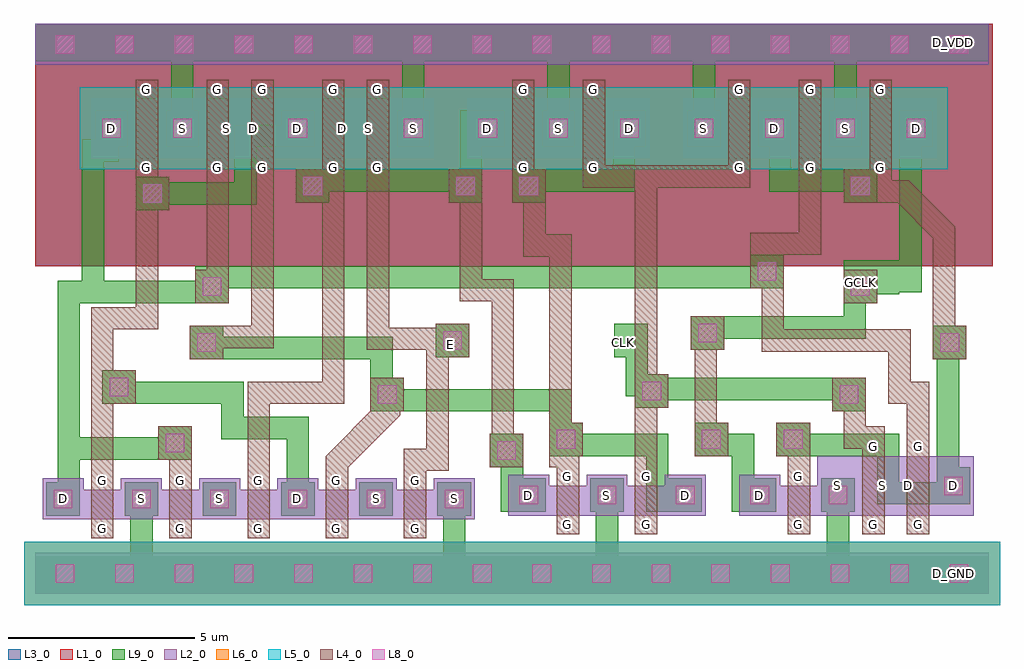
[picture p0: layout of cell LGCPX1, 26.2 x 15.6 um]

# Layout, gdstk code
import gdstk
lib = gdstk.Library(unit=1e-6, precision=1e-09)
def R(c, l, rs):  # rectangles x0, y0, x1, y1
    for r in rs: c.add(gdstk.rectangle(r[:2], r[2:], *l))
def A(c, l, x, y, w, h, nx, ny, dx, dy):  # array of equal rectangles
    R(c, l, [(x+i*dx, y+j*dy, x+i*dx+w, y+j*dy+h) for i in range(nx) for j in range(ny)])
def P(c, l, *ps):  # polygons
    for p in ps: c.add(gdstk.Polygon(p, *l))
L1_0 = (1, 0)
L2_0 = (2, 0)
L3_0 = (3, 0)
L4_0 = (4, 0)
L5_0 = (5, 0)
L6_0 = (6, 0)
L8_0 = (8, 0)
L9_0 = (9, 0)

lgcpx1 = lib.new_cell('LGCPX1')
A(lgcpx1, L1_0, 0, 8.8, 1.6, 6.5, 16, 1, 1.6, 0)
A(lgcpx1, L1_0, 15.9, 10.2, 6, 4.6, 3, 1, 1.9, 0)
R(lgcpx1, L1_0, [(25.6,8.8,25.7,15.3), (0,10.2,6,14.8), (1.9,10.2,7.9,14.8), (3.1,10.2,9.1,14.8), (5,10.2,11,14.8), (6.2,10.2,12.2,14.8), (10.1,10.2,16.1,14.8), (12,10.2,18,14.8)])
A(lgcpx1, L2_0, 0, 0, 1.6, 1.1, 16, 2, 1.6, 14.2)
A(lgcpx1, L2_0, 1.3, 2, 1, 0.8, 5, 1, 2.1, 0)
A(lgcpx1, L2_0, 18.5, 11.7, 0.8, 1.6, 3, 1, 1.9, 0)
R(lgcpx1, L2_0, [(0.2,2,1.3,3.1), (2.3,2,3.4,3.1), (2.3,2,3.4,3.1), (4.4,2,5.5,3.1), (4.4,2,5.5,3.1), (6.5,2,7.6,3.1), (6.5,2,7.6,3.1), (8.6,2,9.7,3.1), (8.6,2,9.7,3.1), (10.7,2,11.8,3.1), (12.7,2.1,13.8,3.2), (13.8,2.1,14.8,2.9), (14.8,2.1,15.9,3.2), (14.8,2.1,15.9,3.2), (15.9,2.1,16.9,2.9), (16.9,2.1,18,3.2), (18.9,2.1,20,3.2), (20,2.1,21,2.9), (21,2.1,22.1,3.2), (21,2.1,22.1,3.7), (22.1,2.1,22.9,3.7), (22.2,2.1,23.3,3.7), (22.9,2.1,24,3.7), (23.3,2.1,24.1,3.7), (24.1,2.1,25.2,3.7), (1.5,11.7,2.6,13.3), (2.6,11.7,3.4,13.3), (3.4,11.7,4.5,13.3), (3.4,11.7,4.5,13.3), (4.5,11.7,5.3,13.3), (4.6,11.7,5.7,13.3), (5.3,11.7,6.4,13.3), (5.7,11.7,6.5,13.3), (6.5,11.7,7.6,13.3), (6.5,11.7,7.6,13.3), (7.6,11.7,8.4,13.3), (7.7,11.7,8.8,13.3), (8.4,11.7,9.5,13.3), (8.8,11.7,9.6,13.3), (9.6,11.7,10.7,13.3), (11.6,11.7,12.7,13.3), (12.7,11.7,13.5,13.3), (13.5,11.7,14.6,13.3), (13.5,11.7,14.6,13.3), (14.6,11.7,15.4,13.3), (15.4,11.7,16.5,13.3), (17.4,11.7,18.5,13.3), (19.3,11.7,20.4,13.3), (19.3,11.7,20.4,13.3), (21.2,11.7,22.3,13.3), (21.2,11.7,22.3,13.3), (23.1,11.7,24.2,13.3)])
A(lgcpx1, L3_0, 0, 8.8, 1.6, 6.5, 16, 1, 1.6, 0)
A(lgcpx1, L3_0, 15.9, 10.2, 6, 4.6, 3, 1, 1.9, 0)
R(lgcpx1, L3_0, [(25.6,8.8,25.7,15.3), (0,10.2,6,14.8), (1.9,10.2,7.9,14.8), (3.1,10.2,9.1,14.8), (5,10.2,11,14.8), (6.2,10.2,12.2,14.8), (10.1,10.2,16.1,14.8), (12,10.2,18,14.8)])
A(lgcpx1, L4_0, 1.5, 1.5, 0.6, 1.8, 5, 1, 2.1, 0)
A(lgcpx1, L4_0, 1.5, 1.5, 0.6, 0.5, 5, 2, 2.1, 1.3)
A(lgcpx1, L4_0, 18.6, 11.2, 0.6, 0.5, 3, 2, 1.9, 2.1)
A(lgcpx1, L4_0, 18.6, 11.2, 0.6, 2.6, 3, 1, 1.9, 0)
R(lgcpx1, L4_0, [(14,1.6,14.6,3.4), (14,1.6,14.6,2.1), (16.1,1.6,16.7,3.4), (16.1,1.6,16.7,2.1), (20.2,1.6,20.8,3.4), (20.2,1.6,20.8,2.1), (22.2,1.6,22.8,2.1), (22.2,1.6,22.8,4.2), (23.4,1.6,24,2.1), (23.4,1.6,24,4.2), (3.6,2.5,4.2,4.2), (1.5,2.7,2.1,7.7), (14,2.9,14.6,3.4), (16.1,2.9,16.7,3.4), (20.2,2.9,20.8,3.4), (20.2,3.05,20.8,4.2), (12.2,3.4,13.1,4.3), (13.8,3.4,14.6,4), (3.3,3.6,4.2,4.5), (13.8,3.7,14.7,4.6), (17.7,3.7,18.6,4.6), (17.7,3.7,18.3,7.3), (19.9,3.7,20.8,4.6), (22.2,3.7,22.8,4.2), (23.4,3.7,24,4.2), (12.25,4.3,12.85,7.3), (9,4.9,9.9,5.8), (21.4,4.9,22.3,5.8), (16.1,5,17,5.9), (1.8,5.1,2.7,6), (4.15,6.3,5.05,7.2), (24.1,6.3,25,7.2), (10.75,6.35,11.65,7.25), (17.6,6.55,18.5,7.45), (4.45,6.6,6.4,7.2), (1.5,7.1,3.3,7.7), (2.7,7.1,3.3,10.9), (5.8,7.2,6.4,11.35), (4.3,7.8,5.2,8.7), (21.7,7.8,22.6,8.7), (19.2,8.2,20.1,9.1), (4.6,8.65,5.2,11.55), (2.7,10.3,3.6,11.2), (7,10.5,7.9,11.4), (11.1,10.5,12,11.4), (12.8,10.5,13.7,11.4), (21.7,10.5,22.6,11.4), (21.7,10.6,23,11.2), (15.95,10.9,19.2,11.5), (2.7,11.2,3.3,11.7), (2.7,11.2,3.3,13.8), (4.6,11.2,5.2,11.7), (4.6,11.2,5.2,13.8), (5.8,11.2,6.4,11.7), (5.8,11.2,6.4,13.8), (7.7,11.2,8.3,11.7), (7.7,11.2,8.3,13.8), (8.9,11.2,9.5,11.7), (8.9,11.2,9.5,13.8), (12.8,11.2,13.4,11.7), (12.8,11.2,13.4,13.8), (14.7,11.2,15.3,11.7), (14.7,11.2,15.3,13.8), (2.7,13.3,3.3,13.8), (4.6,13.3,5.2,13.8), (5.8,13.3,6.4,13.8), (7.7,13.3,8.3,13.8), (8.9,13.3,9.5,13.8), (12.8,13.3,13.4,13.8), (14.7,13.3,15.3,13.8)])
P(lgcpx1, L4_0, [(5.7,2.5),(6.3,2.5),(6.3,5.1),(8.3,5.1),(8.3,11.45),(7.7,11.45),(7.7,5.7),(5.7,5.7)],
  [(7.8,2.5),(8.4,2.5),(8.4,3.4),(9.8,4.8),(9.8,5.7),(9.2,5.7),(9.2,5.1),(7.8,3.7)],
  [(22.6,10.5),(23.15,10.5),(24.1,9.55),(24.1,7.2),(24.7,7.2),(24.7,9.85),(23.45,11.1),(22.6,11.1)],
  [(21.7,3.9),(22.8,3.9),(22.8,4.5),(22.3,4.5),(22.3,5.8),(21.7,5.8)],
  [(13.1,9.05),(13.8,9.05),(13.8,4.4),(14.4,4.4),(14.4,9.65),(13.7,9.65),(13.7,10.5),(13.1,10.5)],
  [(11.4,7.85),(12.25,7.85),(12.25,7.3),(12.85,7.3),(12.85,8.45),(12,8.45),(12,10.5),(11.4,10.5)],
  [(19.5,6.5),(22.9,6.5),(22.9,5.1),(23.4,5.1),(23.4,4.2),(24,4.2),(24,5.7),(23.5,5.7),(23.5,7.1),(20.1,7.1),(20.1,8.25),(19.5,8.25)],
  [(19.2,9.1),(21.1,9.1),(21.1,11.2),(20.5,11.2),(20.5,9.7),(19.2,9.7)],
  [(14.7,10.9),(16.1,10.9),(16.1,2.7),(16.7,2.7),(16.7,11.5),(15.3,11.5),(15.3,12),(14.7,12)],
  [(8.9,6.55),(10.5,6.55),(10.5,3.9),(9.9,3.9),(9.9,2.75),(10.5,2.75),(10.5,3.3),(11.1,3.3),(11.1,7.15),(9.5,7.15),(9.5,12.7),(8.9,12.7)])
A(lgcpx1, L5_0, 1.6, -0.3, 1.6, 1.7, 14, 1, 1.6, 0)
A(lgcpx1, L5_0, 17.1, 11.4, 3.6, 2.2, 3, 1, 1.9, 0)
R(lgcpx1, L5_0, [(-0.3,-0.3,1.6,1.4), (24,-0.3,25.9,1.4), (1.2,11.4,4.8,13.6), (3.1,11.4,6.7,13.6), (4.3,11.4,7.9,13.6), (6.2,11.4,9.8,13.6), (7.4,11.4,11,13.6), (11,11.4,11.35,13.6), (11.3,11.4,14.9,13.6), (13.2,11.4,16.8,13.6), (16.6,11.4,17.35,13.6)])
A(lgcpx1, L6_0, 1.6, -0.3, 1.6, 1.7, 14, 1, 1.6, 0)
A(lgcpx1, L6_0, 17.1, 11.4, 3.6, 2.2, 3, 1, 1.9, 0)
R(lgcpx1, L6_0, [(-0.3,-0.3,1.6,1.4), (24,-0.3,25.9,1.4), (1.2,11.4,4.8,13.6), (3.1,11.4,6.7,13.6), (4.3,11.4,7.9,13.6), (6.2,11.4,9.8,13.6), (7.4,11.4,11,13.6), (11,11.4,11.35,13.6), (11.3,11.4,14.9,13.6), (13.2,11.4,16.8,13.6), (16.6,11.4,17.35,13.6)])
A(lgcpx1, L8_0, 0.55, 0.3, 0.5, 0.5, 16, 2, 1.6, 14.2)
R(lgcpx1, L8_0, [(0.5,2.3,1,2.8), (2.6,2.3,3.1,2.8), (2.6,2.3,3.1,2.8), (4.7,2.3,5.2,2.8), (4.7,2.3,5.2,2.8), (6.8,2.3,7.3,2.8), (6.8,2.3,7.3,2.8), (8.9,2.3,9.4,2.8), (8.9,2.3,9.4,2.8), (11,2.3,11.5,2.8), (13,2.4,13.5,2.9), (15.1,2.4,15.6,2.9), (15.1,2.4,15.6,2.9), (17.2,2.4,17.7,2.9), (19.2,2.4,19.7,2.9), (21.3,2.4,21.8,2.9), (24.4,2.65,24.9,3.15), (12.4,3.6,12.9,4.1), (3.5,3.8,4,4.3), (14,3.9,14.5,4.4), (17.9,3.9,18.4,4.4), (20.1,3.9,20.6,4.4), (9.2,5.1,9.7,5.6), (21.6,5.1,22.1,5.6), (16.3,5.2,16.8,5.7), (2,5.3,2.5,5.8), (4.35,6.5,4.85,7), (24.3,6.5,24.8,7), (10.95,6.55,11.45,7.05), (17.8,6.75,18.3,7.25), (4.5,8,5,8.5), (21.9,8,22.4,8.5), (19.4,8.4,19.9,8.9), (2.9,10.5,3.4,11), (7.2,10.7,7.7,11.2), (11.3,10.7,11.8,11.2), (13,10.7,13.5,11.2), (21.9,10.7,22.4,11.2), (1.8,12.25,2.3,12.75), (3.7,12.25,4.2,12.75), (3.7,12.25,4.2,12.75), (6.8,12.25,7.3,12.75), (6.8,12.25,7.3,12.75), (9.9,12.25,10.4,12.75), (11.9,12.25,12.4,12.75), (13.8,12.25,14.3,12.75), (13.8,12.25,14.3,12.75), (15.7,12.25,16.2,12.75), (17.7,12.25,18.2,12.75), (19.6,12.25,20.1,12.75), (19.6,12.25,20.1,12.75), (21.5,12.25,22,12.75), (21.5,12.25,22,12.75), (23.4,12.25,23.9,12.75)])
A(lgcpx1, L9_0, 0, 0, 1.6, 1, 16, 2, 1.6, 14.3)
R(lgcpx1, L9_0, [(15.05,0.15,15.65,2.85), (2.55,0.2,3.15,2.7), (10.95,0.2,11.55,2.85), (21.25,0.2,21.85,2.9), (24.35,0.25,24.95,0.85), (0.3,2.1,1.2,3), (2.4,2.1,3.3,3), (2.4,2.1,3.3,3), (4.5,2.1,5.4,3), (4.5,2.1,5.4,3), (6.6,2.1,7.5,3), (6.6,2.1,7.5,3), (8.7,2.1,9.6,3), (8.7,2.1,9.6,3), (10.8,2.1,11.7,3), (12.5,2.2,13.1,4.2), (12.8,2.2,13.7,3.1), (14.9,2.2,15.8,3.1), (14.9,2.2,15.8,3.1), (17,2.2,17.9,3.1), (18.7,2.2,19.3,4.3), (19,2.2,19.9,3.1), (21.1,2.2,22,3.1), (0.6,2.4,1.2,4.2), (24.2,2.4,25.1,3.4), (24.2,2.4,24.8,7.05), (12.2,3.4,13.1,4.3), (0.6,3.6,4.2,4.2), (0.6,3.6,1.2,8.4), (3.3,3.6,4.2,4.5), (13.8,3.7,14.7,4.6), (17.7,3.7,18.6,4.6), (18.55,3.7,19.3,4.3), (19.9,3.7,20.8,4.6), (9,4.9,9.9,5.8), (21.4,4.9,22.3,5.8), (16.1,5,17,5.9), (1.8,5.1,2.7,6), (16.1,5.2,22.3,5.8), (4.15,6.3,5.05,7.2), (24.1,6.3,25,7.2), (10.75,6.35,11.65,7.25), (10.75,6.35,11.65,7.25), (15.55,6.35,16.45,7.25), (17.6,6.55,18.5,7.45), (0.6,7.8,5.15,8.4), (4.3,7.8,5.2,8.7), (21.7,7.8,22.6,8.7), (21.7,8.05,23.2,8.95), (21.95,8.05,22.85,8.95), (19.2,8.2,20.1,9.1), (2.7,10.3,3.6,11.2), (7,10.5,7.9,11.4), (11.1,10.5,12,11.4), (12.8,10.5,13.7,11.4), (21.7,10.5,22.6,11.4), (1.6,12,2.5,13), (3.5,12,4.4,13), (3.5,12,4.4,13), (3.65,12,4.25,15.15), (6.6,12,7.5,13), (6.6,12,7.5,13), (9.7,12,10.6,13), (11.7,12,12.6,13), (13.6,12,14.5,13), (13.6,12,14.5,13), (15.5,12,16.4,13), (17.5,12,18.4,13), (19.4,12,20.3,13), (19.4,12,20.3,13), (21.3,12,22.2,13), (21.3,12,22.2,13), (23.2,12,24.1,13), (13.75,12.15,14.35,15.15), (17.65,12.15,18.25,15.15), (9.85,12.2,10.45,15.15), (21.45,12.2,22.05,15.1), (24.35,14.5,24.95,15.1)])
P(lgcpx1, L9_0, [(12.8,10.8),(16.1,10.8),(16.1,13),(15.5,13),(15.5,11.4),(12.8,11.4)],
  [(9,4.9),(13.8,4.9),(13.8,3.7),(14.7,3.7),(14.7,4.3),(14.4,4.3),(14.4,5.5),(9.6,5.5),(9.6,5.8),(9,5.8)],
  [(22,8.1),(23.8,8.1),(23.8,12.6),(23.2,12.6),(23.2,8.7),(22,8.7)],
  [(1.25,7.8),(1.85,7.8),(1.85,11.6),(2.25,11.6),(2.25,12.6),(1.65,12.6),(1.65,12.2),(1.25,12.2)],
  [(1.8,5.1),(5,5.1),(5,4.15),(6.75,4.15),(6.75,2.25),(7.35,2.25),(7.35,4.75),(5.6,4.75),(5.6,5.7),(1.8,5.7)],
  [(4.3,8.1),(4.9,8.1),(4.9,8.2),(20.1,8.2),(20.1,8.8),(4.3,8.8)],
  [(18.3,6.85),(22.3,6.85),(22.3,8.7),(21.7,8.7),(21.7,7.45),(18.3,7.45)],
  [(19.9,3.7),(22.6,3.7),(22.6,2.4),(25.1,2.4),(25.1,3),(23.2,3),(23.2,4.3),(19.9,4.3)],
  [(19.7,10.8),(22.6,10.8),(22.6,11.4),(20.3,11.4),(20.3,13),(19.7,13)],
  [(4.3,6.3),(9,6.3),(9,5.1),(9.6,5.1),(9.6,6.9),(4.3,6.9)],
  [(3,10.45),(5.95,10.45),(5.95,12),(7.2,12),(7.2,12.6),(5.35,12.6),(5.35,11.05),(3,11.05)],
  [(15.85,5.3),(16.7,5.3),(16.7,5.9),(16.45,5.9),(16.45,6.95),(15.85,6.95)],
  [(13.8,3.7),(16.4,3.7),(16.4,2.2),(17.9,2.2),(17.9,2.8),(17,2.8),(17,4.3),(13.8,4.3)],
  [(7,10.8),(12,10.8),(12,13),(11.4,13),(11.4,11.4),(7,11.4)])
lgcpx1.add(gdstk.Label('G', (16.4,1.852), layer=4, texttype=0))
lgcpx1.add(gdstk.Label('G', (16.4,3.152), layer=4, texttype=0))
lgcpx1.add(gdstk.Label('S', (15.349,2.651), layer=9, texttype=0))
lgcpx1.add(gdstk.Label('D', (17.449,2.651), layer=9, texttype=0))
lgcpx1.add(gdstk.Label('G', (14.3,1.852), layer=4, texttype=0))
lgcpx1.add(gdstk.Label('G', (14.3,3.152), layer=4, texttype=0))
lgcpx1.add(gdstk.Label('S', (15.351,2.651), layer=9, texttype=0))
lgcpx1.add(gdstk.Label('D', (13.251,2.651), layer=9, texttype=0))
lgcpx1.add(gdstk.Label('G', (15,11.452), layer=4, texttype=0))
lgcpx1.add(gdstk.Label('G', (15,13.552), layer=4, texttype=0))
lgcpx1.add(gdstk.Label('S', (14.049,12.501), layer=9, texttype=0))
lgcpx1.add(gdstk.Label('D', (15.949,12.501), layer=9, texttype=0))
lgcpx1.add(gdstk.Label('G', (13.1,11.452), layer=4, texttype=0))
lgcpx1.add(gdstk.Label('G', (13.1,13.552), layer=4, texttype=0))
lgcpx1.add(gdstk.Label('S', (14.051,12.501), layer=9, texttype=0))
lgcpx1.add(gdstk.Label('D', (12.151,12.501), layer=9, texttype=0))
lgcpx1.add(gdstk.Label('G', (8.1,1.752), layer=4, texttype=0))
lgcpx1.add(gdstk.Label('G', (8.1,3.052), layer=4, texttype=0))
lgcpx1.add(gdstk.Label('S', (9.151,2.551), layer=9, texttype=0))
lgcpx1.add(gdstk.Label('D', (7.051,2.551), layer=9, texttype=0))
lgcpx1.add(gdstk.Label('G', (10.2,1.752), layer=4, texttype=0))
lgcpx1.add(gdstk.Label('G', (10.2,3.052), layer=4, texttype=0))
lgcpx1.add(gdstk.Label('S', (11.251,2.551), layer=9, texttype=0))
lgcpx1.add(gdstk.Label('D', (9.151,2.551), layer=9, texttype=0))
lgcpx1.add(gdstk.Label('G', (9.2,11.452), layer=4, texttype=0))
lgcpx1.add(gdstk.Label('G', (9.2,13.552), layer=4, texttype=0))
lgcpx1.add(gdstk.Label('S', (10.151,12.501), layer=9, texttype=0))
lgcpx1.add(gdstk.Label('D', (8.251,12.501), layer=2, texttype=0))
lgcpx1.add(gdstk.Label('G', (8,11.452), layer=4, texttype=0))
lgcpx1.add(gdstk.Label('G', (8,13.552), layer=4, texttype=0))
lgcpx1.add(gdstk.Label('S', (8.951,12.501), layer=2, texttype=0))
lgcpx1.add(gdstk.Label('D', (7.051,12.501), layer=9, texttype=0))
lgcpx1.add(gdstk.Label('G', (1.8,1.752), layer=4, texttype=0))
lgcpx1.add(gdstk.Label('G', (1.8,3.052), layer=4, texttype=0))
lgcpx1.add(gdstk.Label('S', (2.851,2.551), layer=9, texttype=0))
lgcpx1.add(gdstk.Label('D', (0.751,2.551), layer=9, texttype=0))
lgcpx1.add(gdstk.Label('G', (6,1.752), layer=4, texttype=0))
lgcpx1.add(gdstk.Label('G', (6,3.052), layer=4, texttype=0))
lgcpx1.add(gdstk.Label('S', (4.949,2.551), layer=9, texttype=0))
lgcpx1.add(gdstk.Label('D', (7.049,2.551), layer=9, texttype=0))
lgcpx1.add(gdstk.Label('G', (3.9,1.752), layer=4, texttype=0))
lgcpx1.add(gdstk.Label('G', (3.9,3.052), layer=4, texttype=0))
lgcpx1.add(gdstk.Label('S', (2.849,2.551), layer=9, texttype=0))
lgcpx1.add(gdstk.Label('D', (4.949,2.551), layer=9, texttype=0))
lgcpx1.add(gdstk.Label('G', (4.9,11.452), layer=4, texttype=0))
lgcpx1.add(gdstk.Label('G', (4.9,13.552), layer=4, texttype=0))
lgcpx1.add(gdstk.Label('S', (3.949,12.501), layer=9, texttype=0))
lgcpx1.add(gdstk.Label('D', (5.849,12.501), layer=2, texttype=0))
lgcpx1.add(gdstk.Label('G', (6.1,11.452), layer=4, texttype=0))
lgcpx1.add(gdstk.Label('G', (6.1,13.552), layer=4, texttype=0))
lgcpx1.add(gdstk.Label('S', (5.149,12.501), layer=2, texttype=0))
lgcpx1.add(gdstk.Label('D', (7.049,12.501), layer=9, texttype=0))
lgcpx1.add(gdstk.Label('G', (3,11.452), layer=4, texttype=0))
lgcpx1.add(gdstk.Label('G', (3,13.552), layer=4, texttype=0))
lgcpx1.add(gdstk.Label('S', (3.951,12.501), layer=9, texttype=0))
lgcpx1.add(gdstk.Label('D', (2.051,12.501), layer=9, texttype=0))
lgcpx1.add(gdstk.Label('G', (23.7,1.852), layer=4, texttype=0))
lgcpx1.add(gdstk.Label('G', (23.7,3.952), layer=4, texttype=0))
lgcpx1.add(gdstk.Label('S', (22.749,2.901), layer=2, texttype=0))
lgcpx1.add(gdstk.Label('D', (24.649,2.901), layer=9, texttype=0))
lgcpx1.add(gdstk.Label('D', (23.449,2.901), layer=2, texttype=0))
lgcpx1.add(gdstk.Label('G', (22.5,1.852), layer=4, texttype=0))
lgcpx1.add(gdstk.Label('G', (22.5,3.952), layer=4, texttype=0))
lgcpx1.add(gdstk.Label('S', (21.549,2.901), layer=2, texttype=0))
lgcpx1.add(gdstk.Label('G', (20.5,1.852), layer=4, texttype=0))
lgcpx1.add(gdstk.Label('G', (20.5,3.152), layer=4, texttype=0))
lgcpx1.add(gdstk.Label('S', (21.551,2.651), layer=9, texttype=0))
lgcpx1.add(gdstk.Label('D', (19.451,2.651), layer=9, texttype=0))
lgcpx1.add(gdstk.Label('G', (20.8,11.452), layer=4, texttype=0))
lgcpx1.add(gdstk.Label('G', (20.8,13.552), layer=4, texttype=0))
lgcpx1.add(gdstk.Label('S', (21.751,12.501), layer=9, texttype=0))
lgcpx1.add(gdstk.Label('D', (19.851,12.501), layer=9, texttype=0))
lgcpx1.add(gdstk.Label('G', (18.9,11.452), layer=4, texttype=0))
lgcpx1.add(gdstk.Label('G', (18.9,13.552), layer=4, texttype=0))
lgcpx1.add(gdstk.Label('S', (17.949,12.501), layer=9, texttype=0))
lgcpx1.add(gdstk.Label('D', (19.849,12.501), layer=9, texttype=0))
lgcpx1.add(gdstk.Label('G', (22.7,11.452), layer=4, texttype=0))
lgcpx1.add(gdstk.Label('G', (22.7,13.552), layer=4, texttype=0))
lgcpx1.add(gdstk.Label('S', (21.749,12.501), layer=9, texttype=0))
lgcpx1.add(gdstk.Label('D', (23.649,12.501), layer=9, texttype=0))
lgcpx1.add(gdstk.Label('D_VDD', (24.65,14.8), layer=50, texttype=0))
lgcpx1.add(gdstk.Label('D_GND', (24.65,0.55), layer=50, texttype=0))
lgcpx1.add(gdstk.Label('CLK', (15.8,6.75), layer=50, texttype=0))
lgcpx1.add(gdstk.Label('E', (11.15,6.7), layer=50, texttype=0))
lgcpx1.add(gdstk.Label('GCLK', (22.15,8.35), layer=50, texttype=0))

lib.write_gds('LGCPX1.gds')
